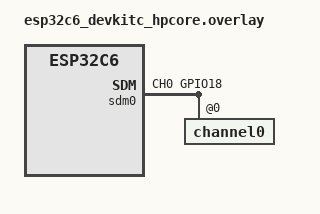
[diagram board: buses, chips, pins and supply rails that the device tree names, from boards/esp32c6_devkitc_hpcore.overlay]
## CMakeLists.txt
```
# SPDX-License-Identifier: Apache-2.0

cmake_minimum_required(VERSION 3.28.0)
find_package(Zephyr REQUIRED HINTS $ENV{ZEPHYR_BASE})
project(sdm)

target_sources(app PRIVATE src/main.c)
```

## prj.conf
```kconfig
CONFIG_PRINTK=y
```

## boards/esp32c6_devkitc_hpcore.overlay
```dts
/*
 * Copyright (c) 2026 Espressif Systems (Shanghai) Co., Ltd.
 *
 * SPDX-License-Identifier: Apache-2.0
 */

&pinctrl {
	sdm0_default: sdm0_default {
		group1 {
			pinmux = <SDM_CH0_GPIO18>;
			output-enable;
		};
	};
};

&sdm0 {
	pinctrl-0 = <&sdm0_default>;
	pinctrl-names = "default";
	#address-cells = <1>;
	#size-cells = <0>;
	status = "okay";

	channel0@0 {
		reg = <0>;
		sample-rate-hz = <1000000>;
	};
};
```

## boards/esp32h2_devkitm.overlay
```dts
/*
 * Copyright (c) 2026 Espressif Systems (Shanghai) Co., Ltd.
 *
 * SPDX-License-Identifier: Apache-2.0
 */

&pinctrl {
	sdm0_default: sdm0_default {
		group1 {
			pinmux = <SDM_CH0_GPIO4>;
			output-enable;
		};
	};
};

&sdm0 {
	pinctrl-0 = <&sdm0_default>;
	pinctrl-names = "default";
	#address-cells = <1>;
	#size-cells = <0>;
	status = "okay";

	channel0@0 {
		reg = <0>;
		sample-rate-hz = <1000000>;
	};
};
```

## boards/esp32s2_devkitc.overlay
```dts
/*
 * Copyright (c) 2026 Espressif Systems (Shanghai) Co., Ltd.
 *
 * SPDX-License-Identifier: Apache-2.0
 */

&pinctrl {
	sdm0_default: sdm0_default {
		group1 {
			pinmux = <SDM_CH0_GPIO4>;
			output-enable;
		};
	};
};

&sdm0 {
	pinctrl-0 = <&sdm0_default>;
	pinctrl-names = "default";
	status = "okay";
	#address-cells = <1>;
	#size-cells = <0>;

	channel0@0 {
		reg = <0>;
		sample-rate-hz = <1000000>;
	};
};
```

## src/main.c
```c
/*
 * Copyright (c) 2026 Espressif Systems (Shanghai) Co., Ltd.
 *
 * SPDX-License-Identifier: Apache-2.0
 */

#include <stdint.h>

#include <zephyr/device.h>
#include <zephyr/kernel.h>
#include <zephyr/sys/printk.h>

#include "driver/sdm.h"

#define SDM_CHANNEL 0

static const struct device *const sdm_dev = DEVICE_DT_GET(DT_NODELABEL(sdm0));

int main(void)
{
	int8_t density = 0;
	int8_t step = 2;

	if (!device_is_ready(sdm_dev)) {
		printk("SDM device is not ready\n");
		return 0;
	}

	printk("Fading SDM channel %d\n", SDM_CHANNEL);

	while (true) {
		int ret;

		ret = esp32_sdm_set_pulse_density(sdm_dev, SDM_CHANNEL, density);
		if (ret != 0) {
			printk("set pulse density failed (%d)\n", ret);
			return 0;
		}

		k_msleep(10);

		if ((density >= 90) || (density <= -90)) {
			step = (int8_t)(-step);
		}

		density = (int8_t)(density + step);
	}

	return 0;
}
```
